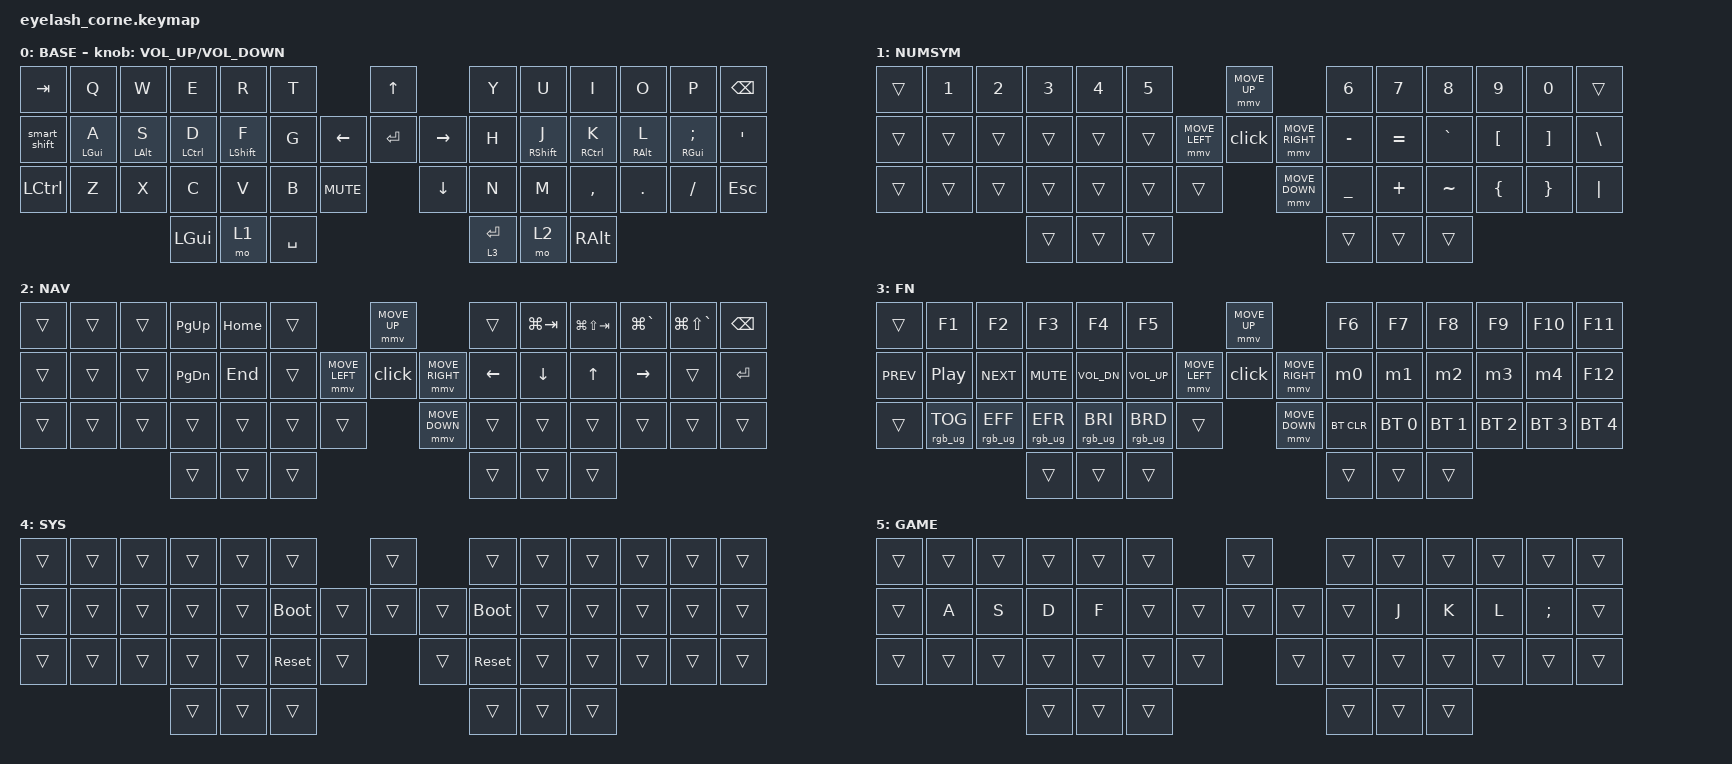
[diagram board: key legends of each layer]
#include <input/processors.dtsi>
#include <dt-bindings/zmk/mouse.h>
#include <behaviors.dtsi>
#include <dt-bindings/zmk/bt.h>
#include <dt-bindings/zmk/keys.h>
#include <dt-bindings/zmk/pointing.h>
#include <dt-bindings/zmk/pointing.h>
#include <dt-bindings/zmk/pointing.h>
#include <dt-bindings/zmk/rgb.h>

/*

   &mmv_input_listener {
       input-processors = <&zip_xy_scaler 2 1>;
   };

   &msc_input_listener {
       input-processors = <&zip_xy_scaler 2 1>;
   };

 */

#define ZMK_MOUSE_DEFAULT_MOVE_VAL 3000  // 600
#define ZMK_MOUSE_DEFAULT_SCRL_VAL 20    // 10

&lt {
    flavor = "balanced";
    quick-tap-ms = <175>;
};

&caps_word { continue-list = <UNDERSCORE BACKSPACE DELETE SPACE>; };

/ {
    behaviors {
        click: click {
            compatible = "zmk,behavior-tap-dance";
            display-name = "Shift/Caps Lock Tap Dance";
            #binding-cells = <0>;
            bindings = <&mkp LCLK>, <&mkp RCLK>, <&mkp MCLK>;
        };

        hml: hml {
            compatible = "zmk,behavior-hold-tap";
            label = "HML";
            bindings = <&kp>, <&kp>;

            #binding-cells = <2>;
            tapping-term-ms = <200>;
            flavor = "balanced";
            hold-trigger-key-positions = <7 8 9 10 11 12 22 23 24 25 26 27 36 37 38 39 40 41 45 46 47 43 44 42>;
            hold-trigger-on-release;
            require-prior-idle-ms = <150>;
            quick-tap-ms = <175>;
        };

        hmr: hmr {
            compatible = "zmk,behavior-hold-tap";
            label = "HMR";
            bindings = <&kp>, <&kp>;

            #binding-cells = <2>;
            tapping-term-ms = <200>;
            quick-tap-ms = <175>;
            require-prior-idle-ms = <150>;
            flavor = "balanced";
            hold-trigger-on-release;
            hold-trigger-key-positions = <0 1 2 3 4 5 13 14 15 16 17 18 28 29 30 31 32 33 42 43 44 45 46 47>;
        };

        lpar_lt: lpar_lt {
            compatible = "zmk,behavior-mod-morph";
            label = "LPAR_LT";
            bindings = <&kp LPAR>, <&kp LT>;

            #binding-cells = <0>;
            mods = <(MOD_LSFT)>;
        };

        rpar_gt: rpar_gt {
            compatible = "zmk,behavior-mod-morph";
            label = "RPAR_GT";
            bindings = <&kp RPAR>, <&kp GT>;

            #binding-cells = <0>;
            mods = <(MOD_LSFT)>;
        };

        smart_shift: smart_shift {
            compatible = "zmk,behavior-mod-morph";
            label = "SMART_SHIFT";
            bindings = <&sk LSHIFT>, <&caps_word>;

            #binding-cells = <0>;
            mods = <(MOD_LSFT)>;
        };
    };

    rgb_encoder: rgb_encoder {
        compatible = "zmk,behavior-sensor-rotate";
        #sensor-binding-cells = <0>;
        bindings = <&rgb_ug RGB_BRI>, <&rgb_ug RGB_BRD>;
    };

    scroll_encoder: scroll_encoder {
        compatible = "zmk,behavior-sensor-rotate";
        #sensor-binding-cells = <0>;
        bindings = <&msc SCRL_DOWN>, <&msc SCRL_UP>;

        tap-ms = <30>;
    };

    macros {
        m0: m0 {
            compatible = "zmk,behavior-macro";
            #binding-cells = <0>;
            bindings = <&none>;
            label = "M0";
        };

        m1: m1 {
            compatible = "zmk,behavior-macro";
            #binding-cells = <0>;
            bindings = <&none>;
            label = "M1";
        };

        m2: m2 {
            compatible = "zmk,behavior-macro";
            #binding-cells = <0>;
            bindings = <&none>;
            label = "M2";
        };

        m3: m3 {
            compatible = "zmk,behavior-macro";
            #binding-cells = <0>;
            bindings = <&none>;
            label = "M3";
        };

        m4: m4 {
            compatible = "zmk,behavior-macro";
            #binding-cells = <0>;
            bindings = <&none>;
            label = "M4";
        };
    };

    combos {
        compatible = "zmk,combos";

        esc {
            bindings = <&kp ESC>;
            key-positions = <0 1>;
            require-prior-idle-ms = <150>;
            layers = <0 1>;
        };

        at {
            bindings = <&kp AT>;
            key-positions = <2 1>;
            require-prior-idle-ms = <150>;
            layers = <0 1>;
        };

        hash {
            bindings = <&kp HASH>;
            key-positions = <3 2>;
            require-prior-idle-ms = <150>;
            layers = <0 1>;
        };

        dollar {
            bindings = <&kp DLLR>;
            key-positions = <4 3>;
            require-prior-idle-ms = <150>;
            layers = <0 1>;
        };

        percent {
            bindings = <&kp PRCNT>;
            key-positions = <5 4>;
            require-prior-idle-ms = <150>;
            layers = <0 1>;
        };

        tilde {
            bindings = <&kp TILDE>;
            key-positions = <2 3 44>;
            require-prior-idle-ms = <150>;
            layers = <0 1>;
        };

        backslash {
            bindings = <&kp BSLH>;
            key-positions = <3 44 4>;
            require-prior-idle-ms = <150>;
            layers = <0 1>;
        };

        grave {
            bindings = <&kp GRAVE>;
            key-positions = <15 16>;
            require-prior-idle-ms = <150>;
            layers = <0 1>;
        };

        exclaim {
            bindings = <&kp EXCL>;
            key-positions = <16 17>;
            require-prior-idle-ms = <150>;
            layers = <0 1>;
        };

        cut {
            bindings = <&kp LG(X)>;
            key-positions = <30 32>;
            require-prior-idle-ms = <150>;
            layers = <0 1>;
        };

        copy {
            bindings = <&kp LG(C)>;
            key-positions = <30 31>;
            require-prior-idle-ms = <150>;
            layers = <0 1>;
        };

        paste {
            bindings = <&kp LG(V)>;
            key-positions = <31 32>;
            require-prior-idle-ms = <150>;
            layers = <0 1>;
        };

        caret {
            bindings = <&kp CARET>;
            key-positions = <7 8>;
            require-prior-idle-ms = <150>;
            layers = <0 1>;
        };

        ampersand {
            bindings = <&kp PLUS>;
            key-positions = <8 9>;
            require-prior-idle-ms = <150>;
            layers = <0 1>;
        };

        asterisk {
            bindings = <&kp STAR>;
            key-positions = <9 10>;
            require-prior-idle-ms = <150>;
            layers = <0 1>;
        };

        plus {
            bindings = <&kp AMPS>;
            key-positions = <10 11>;
            require-prior-idle-ms = <150>;
            layers = <0 1>;
        };

        del {
            bindings = <&kp EQUAL>;
            key-positions = <11 12>;
            require-prior-idle-ms = <150>;
            layers = <0 1>;
        };

        underscore {
            bindings = <&kp UNDER>;
            key-positions = <7 8 45>;
            require-prior-idle-ms = <150>;
            layers = <0 1>;
        };

        minus {
            bindings = <&kp MINUS>;
            key-positions = <8 45 9>;
            require-prior-idle-ms = <150>;
            layers = <0 1>;
        };

        slash {
            bindings = <&kp FSLH>;
            key-positions = <45 10 9>;
            require-prior-idle-ms = <150>;
            layers = <0 1>;
        };

        pipe {
            bindings = <&kp PIPE>;
            key-positions = <45 10 11>;
            require-prior-idle-ms = <150>;
            layers = <0 1>;
        };

        left_paren {
            bindings = <&lpar_lt>;
            key-positions = <23 24>;
            require-prior-idle-ms = <150>;
            layers = <0 1>;
        };

        right_paren {
            bindings = <&rpar_gt>;
            key-positions = <24 25>;
            require-prior-idle-ms = <150>;
            layers = <0 1>;
        };

        left_brack {
            bindings = <&kp LBKT>;
            key-positions = <37 38>;
            require-prior-idle-ms = <150>;
            layers = <0 1>;
        };

        right_brack {
            bindings = <&kp RBKT>;
            key-positions = <38 39>;
            require-prior-idle-ms = <150>;
            layers = <0 1>;
        };

        game_layer {
            bindings = <&tog 5>;
            key-positions = <44 45>;
        };
    };

    keymap {
        compatible = "zmk,keymap";

        default_layer {
            display-name = "BASE";
            bindings = <
&kp TAB       &kp Q        &kp W        &kp E         &kp R          &kp T                              &kp UP                 &kp Y        &kp U          &kp I         &kp O        &kp P                &kp BSPC
&smart_shift  &hml LGUI A  &hml LALT S  &hml LCTRL D  &hml LSHIFT F  &kp G                    &kp LEFT  &kp RETURN  &kp RIGHT  &kp H        &hmr RSHIFT J  &hmr RCTRL K  &hmr RALT L  &hmr RGUI SEMICOLON  &kp SQT
&kp LCTRL     &kp Z        &kp X        &kp C         &kp V          &kp B      &kp C_MUTE              &kp DOWN               &kp N        &kp M          &kp COMMA     &kp DOT      &kp FSLH             &kp ESC
                                        &kp LGUI      &mo 1          &kp SPACE                                                 &lt 3 ENTER  &mo 2          &kp RALT
            >;

            sensor-bindings = <&inc_dec_kp C_VOLUME_UP C_VOLUME_DOWN>;
        };

        num_sym_layer {
            bindings = <
&trans  &kp N1  &kp N2  &kp N3  &kp N4  &kp N5                            &mmv MOVE_UP                     &kp N6     &kp N7     &kp N8     &kp N9    &kp N0    &trans
&trans  &trans  &trans  &trans  &trans  &trans            &mmv MOVE_LEFT  &click          &mmv MOVE_RIGHT  &kp MINUS  &kp EQUAL  &kp GRAVE  &kp LBKT  &kp RBKT  &kp BSLH
&trans  &trans  &trans  &trans  &trans  &trans  &trans                    &mmv MOVE_DOWN                   &kp UNDER  &kp PLUS   &kp TILDE  &kp LBRC  &kp RBRC  &kp PIPE
                        &trans  &trans  &trans                                                             &trans     &trans     &trans
            >;

            label = "NUMSYM";
        };

        nav_layer {
            bindings = <
&trans  &trans  &trans  &kp PG_UP  &kp HOME  &trans                            &mmv MOVE_UP                     &trans    &kp LG(TAB)  &kp LG(LS(TAB))  &kp LG(GRAVE)  &kp LG(LS(GRAVE))  &kp BACKSPACE
&trans  &trans  &trans  &kp PG_DN  &kp END   &trans            &mmv MOVE_LEFT  &click          &mmv MOVE_RIGHT  &kp LEFT  &kp DOWN     &kp UP           &kp RIGHT      &trans             &kp ENTER
&trans  &trans  &trans  &trans     &trans    &trans  &trans                    &mmv MOVE_DOWN                   &trans    &trans       &trans           &trans         &trans             &trans
                        &trans     &trans    &trans                                                             &trans    &trans       &trans
            >;

            label = "NAV";
        };

        fn_layer {
            bindings = <
&trans      &kp F1            &kp F2           &kp F3           &kp F4           &kp F5                                     &mmv MOVE_UP                     &kp F6      &kp F7        &kp F8        &kp F9        &kp F10       &kp F11
&kp C_PREV  &kp C_PLAY_PAUSE  &kp C_NEXT       &kp C_MUTE       &kp C_VOL_DN     &kp C_VOL_UP               &mmv MOVE_LEFT  &click          &mmv MOVE_RIGHT  &m0         &m1           &m2           &m3           &m4           &kp F12
&trans      &rgb_ug RGB_TOG   &rgb_ug RGB_EFF  &rgb_ug RGB_EFR  &rgb_ug RGB_BRI  &rgb_ug RGB_BRD  &trans                    &mmv MOVE_DOWN                   &bt BT_CLR  &bt BT_SEL 0  &bt BT_SEL 1  &bt BT_SEL 2  &bt BT_SEL 3  &bt BT_SEL 4
                                               &trans           &trans           &trans                                                                      &trans      &trans        &trans
            >;

            label = "FN";
        };

        sys_layer {
            bindings = <
&trans  &trans  &trans  &trans  &trans  &trans                         &trans          &trans       &trans  &trans  &trans  &trans  &trans
&trans  &trans  &trans  &trans  &trans  &bootloader            &trans  &trans  &trans  &bootloader  &trans  &trans  &trans  &trans  &trans
&trans  &trans  &trans  &trans  &trans  &sys_reset   &trans            &trans          &sys_reset   &trans  &trans  &trans  &trans  &trans
                        &trans  &trans  &trans                                         &trans       &trans  &trans
            >;

            label = "SYS";
        };

        game_layer {
            bindings = <
&trans  &trans  &trans  &trans  &trans  &trans                    &trans          &trans  &trans  &trans  &trans  &trans    &trans
&trans  &kp A   &kp S   &kp D   &kp F   &trans            &trans  &trans  &trans  &trans  &kp J   &kp K   &kp L   &kp SEMI  &trans
&trans  &trans  &trans  &trans  &trans  &trans  &trans            &trans          &trans  &trans  &trans  &trans  &trans    &trans
                        &trans  &trans  &trans                                    &trans  &trans  &trans
            >;

            label = "GAME";
        };
    };

    conditional_layers {
        compatible = "zmk,conditional-layers";

        sys_layer {
            if-layers = <1 2>;
            then-layer = <4>;
        };
    };
};
